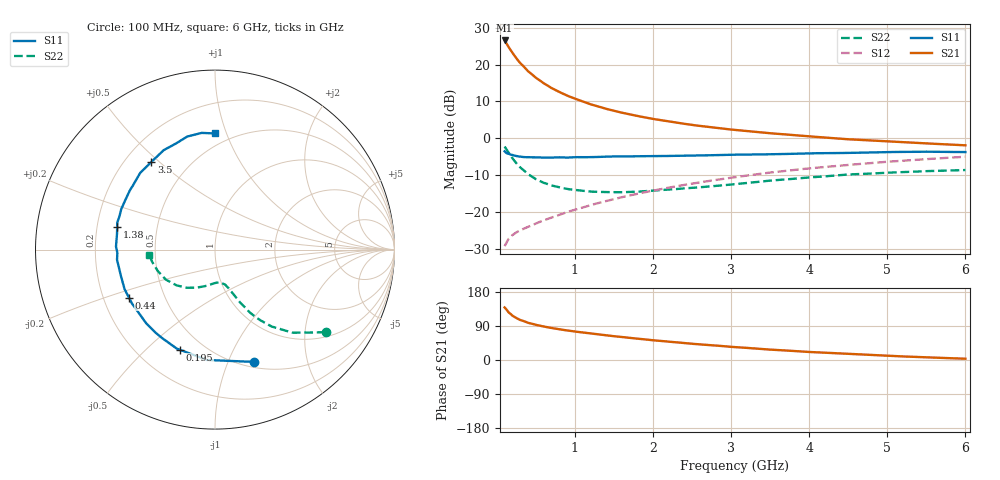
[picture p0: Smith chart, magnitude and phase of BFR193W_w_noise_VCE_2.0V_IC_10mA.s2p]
! Infineon Technologies  Discrete & RF Semiconductors
! BFR193W
! VCE =  2.0 V,  IC =  10 mA
! Common Emitter S-Parameters:  Nov 2015
# GHz  S  MA  R  50
!  f  S11  S21  S12  S22
! GHz  MAG  ANG  MAG  ANG  MAG  ANG  MAG  ANG
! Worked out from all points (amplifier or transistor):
!   192 points, 100 MHz to 6 GHz, reference 50 ohm
!   highest |S21| = 26.5 dB at 100 MHz (marker M1)
!   |S21| within 3 dB of that: start of sweep to 188.8 MHz
!   unconditionally stable (mu >= 1): 974.3 MHz to 2.552 GHz
!   at 440 MHz: K = 0.73, MSG = 20.6 dB, |S12| = -23.7 dB
!   at 1.7 GHz: K = 1.05, MAG = 9.7 dB, |S12| = -15.6 dB
!   at 6 GHz: K = 0.91, MSG = 1.6 dB, |S12| = -5.1 dB
!   lowest NFmin = 1.30 dB at 450 MHz
!   S11 on the Smith chart (normalised r, x): 100 MHz: 0.56, -1.25; 195 MHz: 0.37, -0.64; 440 MHz: 0.31, -0.24; 1.38 GHz: 0.29, +0.10; 3.5 GHz: 0.31, +0.47; 6 GHz: 0.41, +0.92
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0.1  0.6623 -70.8  21.21 138.7  0.0341 59.8  0.7691 -36.8
0.15  0.6167 -94.2  17.33 126.0  0.0427 53.0  0.6341 -46.9
0.195  0.5914 -109.4  14.67 118.1  0.0476 49.9  0.5426 -52.8
0.2  0.5913 -111.1  14.39 117.0  0.0482 49.6  0.5329 -53.6
0.24  0.574 -121.1  12.57 112.1  0.0516 48.2  0.4695 -57.2
0.26  0.5692 -125.5  11.79 109.7  0.0532 47.9  0.4433 -58.7
0.3  0.5617 -133.0  10.46 105.6  0.056 47.9  0.4007 -61.0
0.4  0.5515 -147.1  8.109 98.1  0.0624 49.0  0.324 -64.7
0.44  0.5491 -150.8  7.501 96.2  0.0651 49.9  0.3053 -65.5
0.52  0.5482 -157.8  6.398 91.9  0.0707 51.5  0.2715 -67.3
0.6  0.5446 -163.5  5.57 88.3  0.0765 53.0  0.2474 -69.1
0.7  0.5445 -169.0  4.792 84.4  0.0832 55.1  0.228 -70.5
0.9  0.5443 -178.1  3.777 77.9  0.0989 58.1  0.2039 -73.6
1.1  0.551 175.0  3.154 72.7  0.1147 60.2  0.1927 -77.3
1.38  0.5591 167.0  2.537 65.6  0.1381 61.9  0.1851 -82.9
1.8  0.569 157.2  1.997 56.2  0.1754 62.7  0.1875 -91.7
2.08  0.5706 151.1  1.767 50.7  0.2012 62.4  0.1956 -97.3
3.1  0.5974 132.6  1.278 33.4  0.2998 57.8  0.2397 -117.9
3.5  0.6033 126.1  1.166 27.4  0.3409 55.0  0.265 -126.6
4.1  0.6239 115.9  1.038 20.3  0.3971 49.9  0.2973 -139.6
5.1  0.6488 102.3  0.894 10.3  0.4857 41.1  0.3426 -161.3
6  0.647 89.8  0.799 3.4  0.5589 32.7  0.3688 -175.7
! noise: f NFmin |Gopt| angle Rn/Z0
0.45  1.3  0.22  143  0.11
0.9  1.3  0.34  160  0.11
1.8  2.05  0.54  -153  0.14
